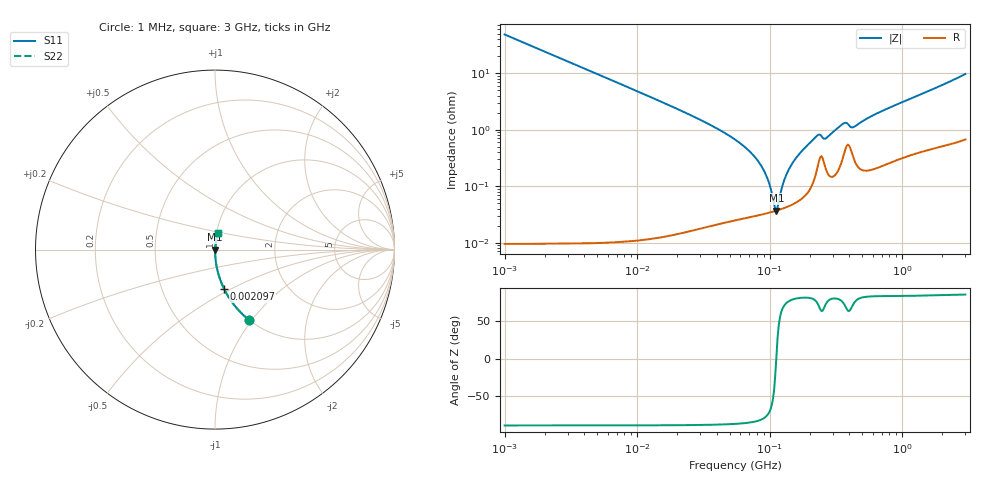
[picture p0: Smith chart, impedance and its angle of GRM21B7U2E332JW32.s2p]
!Murata Part Number: GRM21B7U2E332JW32
!These Parameters are Measured in Series Mode Connection
!Data Generated on Mar 30, 2021
!  o--ll--o
!Port1  Port2
!  o------o
!Operation Temp=25[degC], DC Bias Voltage=0[V]
!Freq. Start=1000[kHz] Stop=3[GHz] 401[Steps]
# Hz S RI R 50
!Freq.(Hz) S11(Real) S11(Imag) S21(Real) S21(Imag) S12(Real) S12(Imag) S22(Real) S22(Imag)
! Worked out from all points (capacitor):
!   401 points, 1 MHz to 3 GHz, reference 50 ohm
!   read as one part in series: C = 3.28 nF near 1.041 MHz
!   lowest |Z| = 37.1 mohm at 112.6 MHz (marker M1)
!   series resonance near 112.2 MHz, so ESL is about 610 pH
!   S11 on the Smith chart (normalised r, x): 1 MHz: 1.00, -0.97; 2.097 MHz: 1.00, -0.46; 3 GHz: 1.01, +0.19
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1000000  0.1906 -0.3927  0.8094 0.3927  0.8094 0.3927  0.1906 -0.3927
2097170  0.0509 -0.2195  0.9491 0.2195  0.9491 0.2195  0.0509 -0.2195
3823119  0.0159 -0.1247  0.9841 0.1247  0.9841 0.1247  0.0159 -0.1247
1.461624e7  0.00118 -0.0325  0.9988 0.0325  0.9988 0.0325  0.00118 -0.0325
3.320783e7  0.000365 -0.0133  0.9996 0.0133  0.9996 0.0133  0.000365 -0.0133
5.477226e7  0.000293 -0.00671  0.9997 0.00671  0.9997 0.00671  0.000293 -0.00671
7.248696e7  0.000301 -0.00388  0.9997 0.00388  0.9997 0.00388  0.000301 -0.00388
8.679508e7  0.00032 -0.00224  0.9997 0.00224  0.9997 0.00224  0.00032 -0.00224
9.593103e7  0.000335 -0.00136  0.9997 0.00136  0.9997 0.00136  0.000335 -0.00136
1.081723e8  0.00036 -0.000316  0.9996 0.000316  0.9996 0.000316  0.00036 -0.000316
1.125904e8  0.00037 3.17e-05  0.9996 -3.17e-05  0.9996 -3.17e-05  0.00037 3.17e-05
1.171891e8  0.000381 0.00038  0.9996 -0.00038  0.9996 -0.00038  0.000381 0.00038
1.295243e8  0.000415 0.00126  0.9996 -0.00126  0.9996 -0.00126  0.000415 0.00126
1.403209e8  0.00045 0.00198  0.9996 -0.00198  0.9996 -0.00198  0.00045 0.00198
1.646891e8  0.000556 0.00352  0.9994 -0.00352  0.9994 -0.00352  0.000556 0.00352
2.094008e8  0.0011 0.00635  0.9989 -0.00635  0.9989 -0.00635  0.0011 0.00635
2.314421e8  0.00239 0.00768  0.9976 -0.00768  0.9976 -0.00768  0.00239 0.00768
2.662515e8  0.00202 0.00676  0.998 -0.00676  0.998 -0.00676  0.00202 0.00676
3.667557e8  0.00412 0.0124  0.9959 -0.0124  0.9959 -0.0124  0.00412 0.0124
4.304467e8  0.00321 0.0106  0.9968 -0.0106  0.9968 -0.0106  0.00321 0.0106
8.005644e8  0.00314 0.0243  0.9969 -0.0243  0.9969 -0.0243  0.00314 0.0243
3e9  0.0158 0.0945  0.9842 -0.0945  0.9842 -0.0945  0.0158 0.0945
